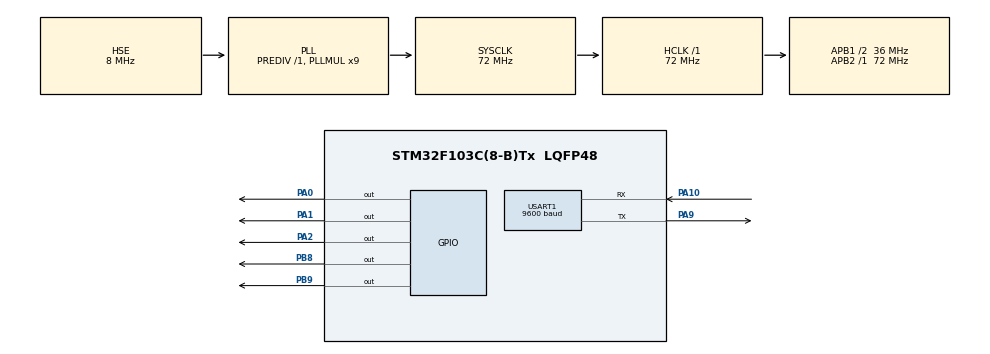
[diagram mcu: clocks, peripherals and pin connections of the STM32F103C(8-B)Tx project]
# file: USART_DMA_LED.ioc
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Dma.Request0=USART1_RX
Dma.Request1=USART1_TX
Dma.USART1_RX.0.Direction=DMA_PERIPH_TO_MEMORY
Dma.USART1_RX.0.Instance=DMA1_Channel5
Dma.USART1_RX.0.MemDataAlignment=DMA_MDATAALIGN_BYTE
Dma.USART1_RX.0.MemInc=DMA_MINC_ENABLE
Dma.USART1_RX.0.Mode=DMA_NORMAL
Dma.USART1_RX.0.PeriphDataAlignment=DMA_PDATAALIGN_BYTE
Dma.USART1_RX.0.PeriphInc=DMA_PINC_DISABLE
Dma.USART1_RX.0.Priority=DMA_PRIORITY_LOW
Dma.USART1_TX.1.Direction=DMA_MEMORY_TO_PERIPH
Dma.USART1_TX.1.Instance=DMA1_Channel4
Dma.USART1_TX.1.MemDataAlignment=DMA_MDATAALIGN_BYTE
Dma.USART1_TX.1.MemInc=DMA_MINC_ENABLE
Dma.USART1_TX.1.Mode=DMA_NORMAL
Dma.USART1_TX.1.PeriphDataAlignment=DMA_PDATAALIGN_BYTE
Dma.USART1_TX.1.PeriphInc=DMA_PINC_DISABLE
Dma.USART1_TX.1.Priority=DMA_PRIORITY_LOW
Mcu.Family=STM32F1
Mcu.Name=STM32F103C(8-B)Tx
Mcu.Package=LQFP48
NVIC.DMA1_Channel4_IRQn=true\:0\:0\:false\:false\:true\:false\:true\:true
NVIC.DMA1_Channel5_IRQn=true\:0\:0\:false\:false\:true\:false\:true\:true
NVIC.PriorityGroup=NVIC_PRIORITYGROUP_4
NVIC.USART1_IRQn=true\:0\:0\:false\:false\:true\:true\:true\:true
PA0-WKUP.Signal=GPIO_Output
PA1.Signal=GPIO_Output
PA10.Mode=Asynchronous
PA10.Signal=USART1_RX
PA13.Mode=Serial_Wire
PA13.Signal=SYS_JTMS-SWDIO
PA14.Mode=Serial_Wire
PA14.Signal=SYS_JTCK-SWCLK
PA2.Signal=GPIO_Output
PA9.Mode=Asynchronous
PA9.Signal=USART1_TX
PB8.GPIO_ModeDefaultOutputPP=GPIO_MODE_OUTPUT_OD
PB8.GPIO_PuPd=GPIO_NOPULL
PB8.Signal=GPIO_Output
PB9.GPIO_ModeDefaultOutputPP=GPIO_MODE_OUTPUT_OD
PB9.GPIO_PuPd=GPIO_NOPULL
PB9.Signal=GPIO_Output
PD0-OSC_IN.Mode=HSE-External-Oscillator
PD0-OSC_IN.Signal=RCC_OSC_IN
PD1-OSC_OUT.Mode=HSE-External-Oscillator
PD1-OSC_OUT.Signal=RCC_OSC_OUT
ProjectManager.HeapSize=0x200
ProjectManager.StackSize=0x400
ProjectManager.TargetToolchain=STM32CubeIDE
RCC.AHBFreq_Value=72000000
RCC.APB1CLKDivider=RCC_HCLK_DIV2
RCC.APB1Freq_Value=36000000
RCC.APB1TimFreq_Value=72000000
RCC.APB2Freq_Value=72000000
RCC.APB2TimFreq_Value=72000000
RCC.HCLKFreq_Value=72000000
RCC.PLLMUL=RCC_PLL_MUL9
RCC.PLLSourceVirtual=RCC_PLLSOURCE_HSE
RCC.SYSCLKFreq_VALUE=72000000
RCC.SYSCLKSource=RCC_SYSCLKSOURCE_PLLCLK
RCC.USBFreq_Value=72000000
USART1.BaudRate=9600
USART1.VirtualMode=VM_ASYNC
board=custom

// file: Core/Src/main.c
/* USER CODE BEGIN Header */
/**
  ******************************************************************************
  * @file           : main.c
  * @brief          : Main program body
  ******************************************************************************
  * @attention
  *
  * Copyright (c) 2026 STMicroelectronics.
  * All rights reserved.
  *
  * This software is licensed under terms that can be found in the LICENSE file
  * in the root directory of this software component.
  * If no LICENSE file comes with this software, it is provided AS-IS.
  *
  ******************************************************************************
  */
/* USER CODE END Header */
#include "main.h"
#include "dma.h"
#include "usart.h"
#include "gpio.h"
#include "string.h"
/* USER CODE BEGIN Includes */
#include "OLED.h"
/* USER CODE END Includes */

/* USER CODE BEGIN PD */
#define RX_MaxLength 				64

/* USER CODE END PD */

/* USER CODE BEGIN PV */
uint8_t RX_String[RX_MaxLength];
uint8_t RX_Flag=0;
/* USER CODE END PV */

void SystemClock_Config(void);

/* USER CODE BEGIN 0 */
void HAL_UARTEx_RxEventCallback(UART_HandleTypeDef *huart, uint16_t Size)
{
	if(huart==&huart1)
	{
		HAL_UART_Transmit_DMA(&huart1,RX_String,Size);
		RX_String[Size]='\0';
		RX_Flag=1;
		HAL_UARTEx_ReceiveToIdle_DMA(&huart1,RX_String,sizeof(RX_String));
	}
}
/* USER CODE END 0 */

int main(void)
{

  /* MCU Configuration--------------------------------------------------------*/

  /* Reset of all peripherals, Initializes the Flash interface and the Systick. */
  HAL_Init();

  /* USER CODE BEGIN Init */
  OLED_Init();
  /* USER CODE END Init */

  /* Configure the system clock */
  SystemClock_Config();

  /* Initialize all configured peripherals */
  MX_GPIO_Init();
  MX_DMA_Init();
  MX_USART1_UART_Init();
  /* USER CODE BEGIN 2 */
  OLED_ShowString(1,1,"LED0:");
  OLED_ShowString(2,1,"LED1:");
  OLED_ShowString(3,1,"LED2:");
  //HAL_UART_Receive_IT(&huart1, &RX_Data, 1);
  HAL_UARTEx_ReceiveToIdle_DMA(&huart1,RX_String,sizeof(RX_String));
  /* USER CODE END 2 */

  /* Infinite loop */
  /* USER CODE BEGIN WHILE */
  while (1)
  {
	  if(RX_Flag==1)
	  {
		  RX_Flag=0;
		  if(strcmp((char*)RX_String,"LED0_ON")==0)
		  {
			  HAL_GPIO_WritePin(GPIOA, GPIO_PIN_0, GPIO_PIN_SET);
			  OLED_ShowString(1,6,"ON");
		  }
		  else if(strcmp((char*)RX_String,"LED0_OFF")==0)
		  {
			  HAL_GPIO_WritePin(GPIOA, GPIO_PIN_0, GPIO_PIN_RESET);
			  OLED_ShowString(1,6,"OFF");
		  }
		  else if(strcmp((char*)RX_String,"LED1_ON")==0)
		  {
			  HAL_GPIO_WritePin(GPIOA, GPIO_PIN_1, GPIO_PIN_SET);
			  OLED_ShowString(2,6,"ON");
		  }
		  else if(strcmp((char*)RX_String,"LED1_OFF")==0)
		  {
			  HAL_GPIO_WritePin(GPIOA, GPIO_PIN_1, GPIO_PIN_RESET);
			  OLED_ShowString(2,6,"OFF");
		  }
		  else if(strcmp((char*)RX_String,"LED2_ON")==0)
		  {
			  HAL_GPIO_WritePin(GPIOA, GPIO_PIN_2, GPIO_PIN_SET);
			  OLED_ShowString(3,6,"ON");
		  }
		  else if(strcmp((char*)RX_String,"LED2_OFF")==0)
		  {
			  HAL_GPIO_WritePin(GPIOA, GPIO_PIN_2, GPIO_PIN_RESET);
			  OLED_ShowString(3,6,"OFF");
		  }
		  else if(strcmp((char*)RX_String,"LED_ON")==0)
		  {
		      HAL_GPIO_WritePin(GPIOA, GPIO_PIN_0|GPIO_PIN_1|GPIO_PIN_2, GPIO_PIN_SET);
		      OLED_ShowString(1,6,"ON");
		      OLED_ShowString(2,6,"ON");
		      OLED_ShowString(3,6,"ON");
		  }
		  else if(strcmp((char*)RX_String,"LED_OFF")==0)
		  {
		      HAL_GPIO_WritePin(GPIOA, GPIO_PIN_0|GPIO_PIN_1|GPIO_PIN_2, GPIO_PIN_RESET);
		      OLED_ShowString(1,6,"OFF");
		      OLED_ShowString(2,6,"OFF");
		      OLED_ShowString(3,6,"OFF");
		  }
	  }
    /* USER CODE END WHILE */

  }
}

void SystemClock_Config(void)
{
  RCC_OscInitTypeDef RCC_OscInitStruct = {0};
  RCC_ClkInitTypeDef RCC_ClkInitStruct = {0};

  /** Initializes the RCC Oscillators according to the specified parameters
  * in the RCC_OscInitTypeDef structure.
  */
  RCC_OscInitStruct.OscillatorType = RCC_OSCILLATORTYPE_HSE;
  RCC_OscInitStruct.HSEState = RCC_HSE_ON;
  RCC_OscInitStruct.HSEPredivValue = RCC_HSE_PREDIV_DIV1;
  RCC_OscInitStruct.HSIState = RCC_HSI_ON;
  RCC_OscInitStruct.PLL.PLLState = RCC_PLL_ON;
  RCC_OscInitStruct.PLL.PLLSource = RCC_PLLSOURCE_HSE;
  RCC_OscInitStruct.PLL.PLLMUL = RCC_PLL_MUL9;
  if (HAL_RCC_OscConfig(&RCC_OscInitStruct) != HAL_OK)
  {
    Error_Handler();
  }

  /** Initializes the CPU, AHB and APB buses clocks
  */
  RCC_ClkInitStruct.ClockType = RCC_CLOCKTYPE_HCLK|RCC_CLOCKTYPE_SYSCLK
                              |RCC_CLOCKTYPE_PCLK1|RCC_CLOCKTYPE_PCLK2;
  RCC_ClkInitStruct.SYSCLKSource = RCC_SYSCLKSOURCE_PLLCLK;
  RCC_ClkInitStruct.AHBCLKDivider = RCC_SYSCLK_DIV1;
  RCC_ClkInitStruct.APB1CLKDivider = RCC_HCLK_DIV2;
  RCC_ClkInitStruct.APB2CLKDivider = RCC_HCLK_DIV1;

  if (HAL_RCC_ClockConfig(&RCC_ClkInitStruct, FLASH_LATENCY_2) != HAL_OK)
  {
    Error_Handler();
  }
}

void Error_Handler(void)
{
  __disable_irq();
  while (1)
  {
  }
}
